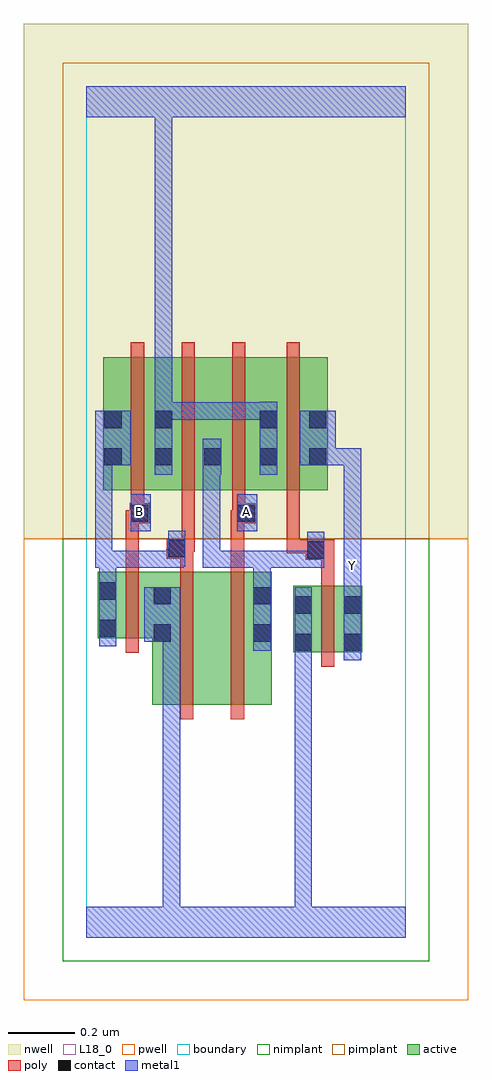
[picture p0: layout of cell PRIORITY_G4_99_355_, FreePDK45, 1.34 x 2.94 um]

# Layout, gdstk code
import gdstk
lib = gdstk.Library(unit=1e-6, precision=1e-09)
def R(c, l, rs):  # rectangles x0, y0, x1, y1
    for r in rs: c.add(gdstk.rectangle(r[:2], r[2:], *l))
def A(c, l, x, y, w, h, nx, ny, dx, dy):  # array of equal rectangles
    R(c, l, [(x+i*dx, y+j*dy, x+i*dx+w, y+j*dy+h) for i in range(nx) for j in range(ny)])
active = (1, 0)
pwell = (2, 0)
nwell = (3, 0)
nimplant = (4, 0)
pimplant = (5, 0)
poly = (9, 0)
contact = (10, 0)
metal1 = (11, 0)
L18_0 = (18, 0)
boundary = (235, 0)

priority_g4_99_355_ = lib.new_cell('PRIORITY_G4_99_355_')
R(priority_g4_99_355_, active, [(0.198,0.7,0.378,1.1), (0.198,0.7,0.258,1.062), (0.378,0.7,0.558,1.1), (0.498,0.7,0.558,1.1), (0.622,0.858,0.682,1.058), (0.622,0.858,0.83,1.058), (0.77,0.858,0.83,1.058), (0.034,0.9,0.094,1.1), (0.034,0.9,0.258,1.1), (0.05,1.346,0.11,1.644), (0.05,1.346,0.262,1.746), (0.202,1.346,0.41,1.746), (0.35,1.346,0.578,1.746), (0.518,1.346,0.726,1.746), (0.666,1.346,0.726,1.644), (0.202,1.416,0.262,1.644), (0.35,1.416,0.41,1.644), (0.518,1.416,0.578,1.644)])
R(priority_g4_99_355_, pwell, [(-0.188,-0.188,1.148,1.2)])
R(priority_g4_99_355_, nwell, [(-0.188,1.2,1.148,2.748)])
R(priority_g4_99_355_, nimplant, [(-0.072,-0.072,1.032,1.2)])
R(priority_g4_99_355_, pimplant, [(-0.072,1.2,1.032,2.632)])
A(priority_g4_99_355_, poly, 0.134, 1.302, 0.04, 0.488, 3, 1, 0.152, 0)
R(priority_g4_99_355_, poly, [(0.282,0.656,0.322,1.144), (0.434,0.656,0.474,1.144), (0.706,0.814,0.746,1.102), (0.118,0.856,0.158,1.144), (0.706,1.062,0.746,1.176), (0.118,1.104,0.158,1.286), (0.282,1.104,0.322,1.18), (0.434,1.104,0.474,1.286), (0.66,1.136,0.746,1.196), (0.242,1.14,0.322,1.2), (0.602,1.156,0.642,1.342), (0.602,1.156,0.7,1.196), (0.66,1.156,0.7,1.196), (0.282,1.16,0.322,1.2), (0.282,1.16,0.326,1.2), (0.286,1.16,0.326,1.342), (0.118,1.246,0.17,1.286), (0.13,1.246,0.17,1.286), (0.13,1.246,0.19,1.306), (0.434,1.246,0.478,1.286), (0.438,1.246,0.478,1.286), (0.438,1.246,0.51,1.306), (0.134,1.266,0.174,1.342), (0.438,1.266,0.478,1.342), (0.602,1.302,0.642,1.79)])
R(priority_g4_99_355_, contact, [(0.626,0.862,0.678,0.914), (0.774,0.862,0.826,0.914), (0.202,0.89,0.254,0.942), (0.502,0.89,0.554,0.942), (0.038,0.904,0.09,0.956), (0.626,0.974,0.678,1.026), (0.774,0.974,0.826,1.026), (0.202,1.002,0.254,1.054), (0.502,1.002,0.554,1.054), (0.038,1.016,0.09,1.068), (0.664,1.14,0.716,1.192), (0.246,1.144,0.298,1.196), (0.134,1.25,0.186,1.302), (0.454,1.25,0.506,1.302), (0.054,1.42,0.106,1.472), (0.206,1.42,0.258,1.472), (0.354,1.42,0.406,1.472), (0.522,1.42,0.574,1.472), (0.67,1.42,0.722,1.472), (0.054,1.532,0.106,1.584), (0.206,1.532,0.258,1.584), (0.522,1.532,0.574,1.584), (0.67,1.532,0.722,1.584)])
R(priority_g4_99_355_, metal1, [(0,0,0.96,0.092), (0.23,0.04,0.282,0.092), (0.23,0.04,0.282,0.092), (0.23,0.04,0.282,0.092), (0.23,0.04,0.282,0.092), (0.23,0.04,0.282,0.092), (0.23,0.04,0.282,0.092), (0.23,0.04,0.282,0.942), (0.626,0.04,0.678,0.092), (0.626,0.04,0.678,0.092), (0.626,0.04,0.678,0.886), (0.626,0.834,0.678,0.886), (0.626,0.834,0.678,0.886), (0.626,0.834,0.678,0.886), (0.626,0.834,0.678,0.886), (0.626,0.834,0.678,0.886), (0.626,0.834,0.678,0.886), (0.626,0.834,0.678,0.886), (0.626,0.834,0.678,0.886), (0.626,0.834,0.678,0.886), (0.626,0.834,0.678,0.886), (0.626,0.834,0.678,0.886), (0.626,0.834,0.678,0.886), (0.626,0.834,0.678,0.886), (0.626,0.834,0.678,0.886), (0.626,0.834,0.678,1.054), (0.774,0.834,0.826,1.054), (0.502,0.862,0.554,1.082), (0.038,0.876,0.09,1.096), (0.174,0.89,0.282,1.054), (0.23,0.89,0.282,0.942), (0.23,0.89,0.282,0.942), (0.23,0.89,0.282,0.942), (0.23,0.89,0.282,0.942), (0.23,0.89,0.282,0.942), (0.23,0.89,0.282,0.942), (0.774,1.002,0.826,1.118), (0.502,1.03,0.554,1.164), (0.038,1.044,0.09,1.164), (0.774,1.066,0.826,1.174), (0.026,1.112,0.078,1.472), (0.026,1.112,0.09,1.164), (0.038,1.112,0.09,1.164), (0.038,1.112,0.09,1.164), (0.038,1.112,0.292,1.164), (0.24,1.112,0.292,1.168), (0.35,1.112,0.402,1.164), (0.35,1.112,0.444,1.164), (0.35,1.112,0.402,1.444), (0.392,1.112,0.444,1.164), (0.392,1.112,0.554,1.164), (0.502,1.112,0.554,1.164), (0.502,1.112,0.554,1.164), (0.502,1.112,0.554,1.164), (0.502,1.112,0.716,1.164), (0.664,1.112,0.716,1.22), (0.24,1.116,0.298,1.168), (0.246,1.116,0.298,1.224), (0.774,1.122,0.826,1.472), (0.134,1.222,0.194,1.334), (0.454,1.222,0.514,1.334), (0.206,1.392,0.258,1.612), (0.35,1.392,0.402,1.444), (0.35,1.392,0.402,1.444), (0.35,1.392,0.406,1.5), (0.522,1.392,0.574,1.612), (0.026,1.42,0.078,1.472), (0.026,1.42,0.078,1.472), (0.026,1.42,0.134,1.584), (0.642,1.42,0.75,1.584), (0.698,1.42,0.75,1.472), (0.698,1.42,0.826,1.472), (0.206,1.558,0.258,1.61), (0.206,1.558,0.258,1.61), (0.206,1.558,0.444,1.61), (0.392,1.558,0.444,1.61), (0.392,1.558,0.444,1.61), (0.392,1.558,0.444,1.61), (0.392,1.558,0.574,1.61), (0.206,1.56,0.258,1.612), (0.206,1.56,0.258,1.612), (0.206,1.56,0.258,1.612), (0.206,1.56,0.258,1.612), (0.206,1.56,0.258,1.612), (0.206,1.56,0.258,1.612), (0.206,1.56,0.258,1.612), (0.206,1.56,0.258,1.612), (0.206,1.56,0.258,1.612), (0.206,1.56,0.258,1.612), (0.206,1.56,0.258,1.612), (0.206,1.56,0.258,1.612), (0.206,1.56,0.258,1.612), (0.206,1.56,0.258,1.612), (0.206,1.56,0.258,2.52), (0,2.468,0.96,2.56), (0.206,2.468,0.258,2.52), (0.206,2.468,0.258,2.52)])
R(priority_g4_99_355_, L18_0, [(0,0,0.96,0.092), (0.23,0.04,0.282,0.092), (0.23,0.04,0.282,0.092), (0.23,0.04,0.282,0.092), (0.23,0.04,0.282,0.092), (0.23,0.04,0.282,0.092), (0.23,0.04,0.282,0.092), (0.23,0.04,0.282,0.942), (0.626,0.04,0.678,0.092), (0.626,0.04,0.678,0.092), (0.626,0.04,0.678,0.886), (0.626,0.834,0.678,0.886), (0.626,0.834,0.678,0.886), (0.626,0.834,0.678,0.886), (0.626,0.834,0.678,0.886), (0.626,0.834,0.678,0.886), (0.626,0.834,0.678,0.886), (0.626,0.834,0.678,0.886), (0.626,0.834,0.678,0.886), (0.626,0.834,0.678,0.886), (0.626,0.834,0.678,0.886), (0.626,0.834,0.678,0.886), (0.626,0.834,0.678,0.886), (0.626,0.834,0.678,0.886), (0.626,0.834,0.678,0.886), (0.626,0.834,0.678,1.054), (0.774,0.834,0.826,1.054), (0.174,0.89,0.282,1.054), (0.23,0.89,0.282,0.942), (0.23,0.89,0.282,0.942), (0.23,0.89,0.282,0.942), (0.23,0.89,0.282,0.942), (0.23,0.89,0.282,0.942), (0.23,0.89,0.282,0.942), (0.774,1.002,0.826,1.118), (0.774,1.066,0.826,1.174), (0.774,1.094,0.826,1.146), (0.774,1.122,0.826,1.472), (0.134,1.222,0.194,1.334), (0.454,1.222,0.514,1.334), (0.134,1.254,0.186,1.306), (0.454,1.254,0.506,1.306), (0.206,1.392,0.258,1.612), (0.522,1.392,0.574,1.612), (0.642,1.42,0.75,1.584), (0.698,1.42,0.75,1.472), (0.698,1.42,0.826,1.472), (0.206,1.558,0.258,1.61), (0.206,1.558,0.258,1.61), (0.206,1.558,0.444,1.61), (0.392,1.558,0.444,1.61), (0.392,1.558,0.444,1.61), (0.392,1.558,0.444,1.61), (0.392,1.558,0.574,1.61), (0.206,1.56,0.258,1.612), (0.206,1.56,0.258,1.612), (0.206,1.56,0.258,1.612), (0.206,1.56,0.258,1.612), (0.206,1.56,0.258,1.612), (0.206,1.56,0.258,1.612), (0.206,1.56,0.258,1.612), (0.206,1.56,0.258,1.612), (0.206,1.56,0.258,1.612), (0.206,1.56,0.258,1.612), (0.206,1.56,0.258,1.612), (0.206,1.56,0.258,1.612), (0.206,1.56,0.258,1.612), (0.206,1.56,0.258,1.612), (0.206,1.56,0.258,2.52), (0,2.468,0.96,2.56), (0.206,2.468,0.258,2.52), (0.206,2.468,0.258,2.52)])
R(priority_g4_99_355_, boundary, [(0,0,0.96,2.56)])
priority_g4_99_355_.add(gdstk.Label('A', (0.48,1.28), layer=11, texttype=0))
priority_g4_99_355_.add(gdstk.Label('B', (0.16,1.28), layer=11, texttype=0))
priority_g4_99_355_.add(gdstk.Label('Y', (0.8,1.12), layer=11, texttype=0))

lib.write_gds('PRIORITY_G4_99_355_.gds')
